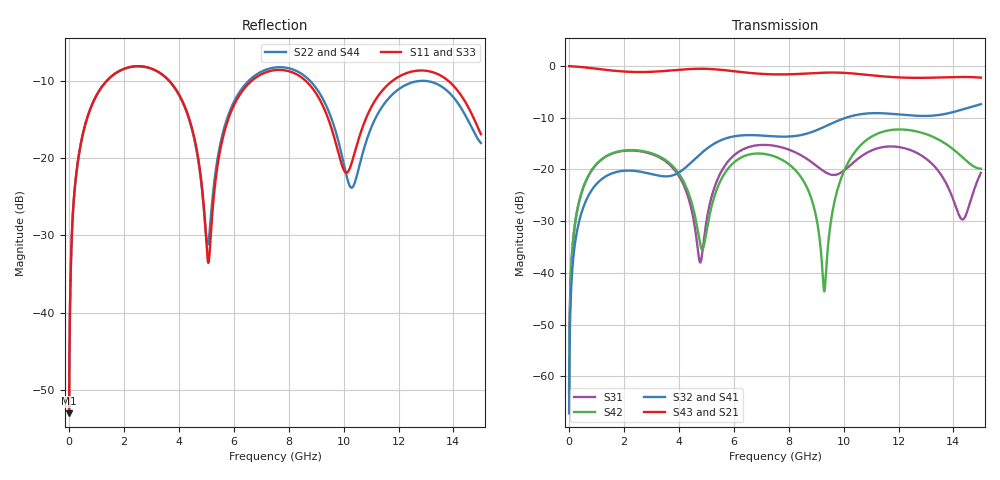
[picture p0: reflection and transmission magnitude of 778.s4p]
! Created with skrf 1.8.0 (http://scikit-rf.org).
# GHz S RI R 50.0
!freq ReS11 ImS11 ReS12 ImS12 ReS13 ImS13
! ReS14 ImS14
! ReS21 ImS21 ReS22 ImS22 ReS23 ImS23
! ReS24 ImS24
! ReS31 ImS31 ReS32 ImS32 ReS33 ImS33
! ReS34 ImS34
! ReS41 ImS41 ReS42 ImS42 ReS43 ImS43
! ReS44 ImS44
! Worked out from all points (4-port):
!   2499 points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, 5 MHz to 15 GHz, reference 50 ohm
!   strongest paths, dB at 5 MHz, 3.476 GHz, 7.19 GHz, 11.1 GHz, 15 GHz:
!     S43: 0.0, -1.0, -1.6, -1.8, -2.2
!     S21: 0.0, -1.0, -1.6, -1.8, -2.2
!     S32: -67.2, -21.3, -13.5, -9.1, -7.4
!     S41: -67.2, -21.4, -13.5, -9.1, -7.4
!     S42: -63.3, -18.0, -17.1, -13.4, -19.9
!     S31: -63.3, -18.3, -15.3, -16.1, -20.6
!   lowest |S11| = -53.1 dB at 5 MHz (marker M1), VSWR 1.00, Z = 50.2 + j0.135 ohm
!   |S11| at or under -10 dB: start of sweep to 1.368 GHz; 3.658 GHz to 6.644 GHz (2.986 GHz wide, 58 % of centre); 8.628 GHz to 11.77 GHz (3.143 GHz wide, 30.8 % of centre) (the widest 3 of 4)
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0.005  0.00177 0.00135  0.9982 -0.00344  8.85e-05 0.000679  -8.61e-05 -0.00043
       0.9982 -0.00344  0.00177 0.00135  -8.61e-05 -0.00043  8.85e-05 0.000679
       8.85e-05 0.000679  -8.61e-05 -0.00043  0.00177 0.00135  0.9982 -0.00344
       -8.61e-05 -0.00043  8.85e-05 0.000679  0.9982 -0.00344  0.00177 0.00135
1.519383  0.2889 0.1717  0.5103 -0.7515  0.1293 0.0555  -0.0906 4.46e-05
          0.5103 -0.7515  0.2881 0.1723  -0.0907 0.000113  0.1313 0.0524
          0.1293 0.0555  -0.0907 0.000113  0.2889 0.1717  0.5103 -0.7514
          -0.0906 4.46e-05  0.1313 0.0524  0.5103 -0.7514  0.2882 0.1722
5.070863  0.021 -0.00145  -0.9373 -0.0596  0.023 0.0321  -0.00621 0.1627
          -0.9373 -0.0596  0.0277 0.00473  -0.00492 0.1627  -0.0103 0.0295
          0.023 0.0321  -0.00492 0.1627  0.0221 -0.00158  -0.9373 -0.0598
          -0.00621 0.1627  -0.0103 0.0295  -0.9373 -0.0598  0.0265 0.00456
7.715715  0.3732 0.00343  -0.0557 0.8284  0.1212 -0.1112  0.204 -0.0393
          -0.0557 0.8284  0.3887 -0.0116  0.2038 -0.0414  0.1157 -0.0493
          0.1212 -0.1112  0.2038 -0.0414  0.3724 0.00164  -0.0559 0.8286
          0.204 -0.0393  0.1157 -0.0493  -0.0559 0.8286  0.3882 -0.00951
9.297624  0.1611 -0.1325  0.6576 0.5601  -0.0724 -0.0623  0.1644 -0.1995
          0.6576 0.5601  0.1637 -0.1652  0.1621 -0.2013  -0.00641 -0.00162
          -0.0724 -0.0623  0.1621 -0.2013  0.1592 -0.1337  0.6576 0.5603
          0.1644 -0.1995  -0.00641 -0.00162  0.6576 0.5603  0.1653 -0.1633
10.87953  0.1527 0.117  0.7844 -0.2426  0.0554 0.1358  -0.1333 -0.3212
          0.7844 -0.2426  0.1098 0.0827  -0.1375 -0.3203  0.1611 0.1127
          0.0554 0.1358  -0.1375 -0.3203  0.1496 0.1153  0.785 -0.2419
          -0.1333 -0.3212  0.1611 0.1127  0.785 -0.2419  0.1117 0.0813
15  0.1164 -0.0833  -0.7092 -0.3053  -0.0165 0.0914  -0.1712 0.3915
    -0.7092 -0.3053  0.1235 -0.0226  -0.1635 0.3956  -0.0952 0.0357
    -0.0165 0.0914  -0.1635 0.3956  0.1096 -0.0736  -0.7116 -0.3025
    -0.1712 0.3915  -0.0952 0.0357  -0.7116 -0.3025  0.1193 -0.0102
